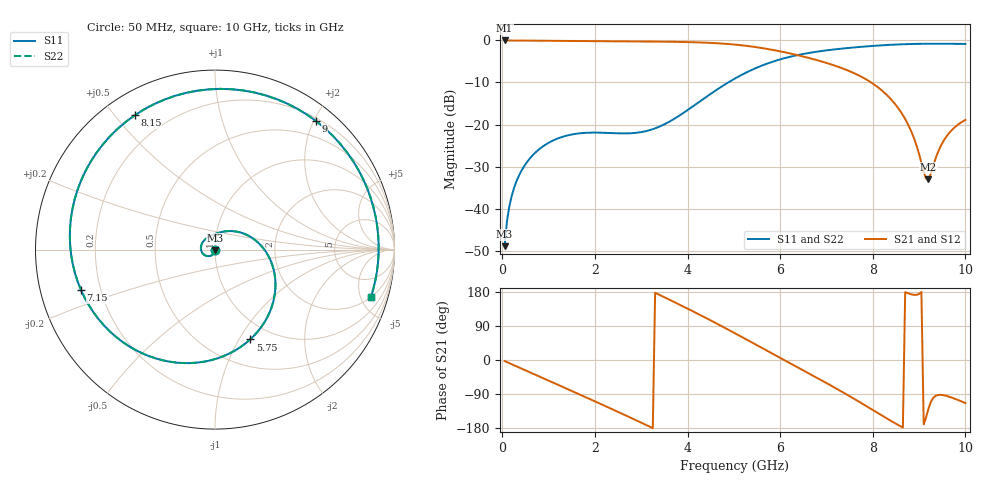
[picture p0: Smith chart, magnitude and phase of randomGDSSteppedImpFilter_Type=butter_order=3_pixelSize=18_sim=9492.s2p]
! freq	dB(S11)	phase(S11)	dB(S12)	phase(S12)
!  dB(S21)	phase(S21)	dB(S22)	phase(S22)
!S-par simulation data
#  GHz  S  DB  R 50
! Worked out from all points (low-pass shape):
!   200 points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, 50 MHz to 10 GHz, reference 50 ohm
!   highest |S21| = -0.01 dB at 50 MHz (marker M1); lowest = -33.1 dB at 9.2 GHz (marker M2)
!   |S21| within 3 dB of the highest: start of sweep to 6.178 GHz
!   lowest |S11| = -48.9 dB at 50 MHz (marker M3), VSWR 1.01, Z = 50 - j0.357 ohm
!   |S11| at or under -10 dB: start of sweep to 4.878 GHz
!   |S22| runs from -48.9 to -0.8 dB; largest |S21 - S12| = 0
!   S11 on the Smith chart (normalised r, x): 50 MHz: 1.00, -0.01; 5.75 GHz: 0.79, -1.12; 7.15 GHz: 0.13, -0.15; 8.15 GHz: 0.09, +0.56; 9 GHz: 0.24, +2.03; 10 GHz: 2.01, -6.07
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0.05  -48.93 -85.6  -0.01 -2.8  -0.01 -2.8  -48.93 -85.6
0.1  -43.07 -91.9  -0.01 -5.5  -0.01 -5.5  -43.07 -91.9
0.2  -37.12 -99.4  -0.02 -11.0  -0.02 -11.0  -37.12 -99.4
0.5  -29.45 -117.3  -0.04 -27.3  -0.04 -27.3  -29.45 -117.3
1.15  -23.53 -153.9  -0.09 -62.6  -0.09 -62.6  -23.53 -153.8
1.75  -22.02 173.0  -0.14 -95.4  -0.14 -95.4  -22.02 173.1
2.65  -22.11 122.3  -0.20 -145.4  -0.20 -145.4  -22.11 122.3
3.4  -20.46 78.9  -0.28 171.5  -0.28 171.5  -20.47 78.9
4.3  -14.25 25.2  -0.49 117.1  -0.49 117.1  -14.25 25.2
5.05  -8.90 -22.3  -1.02 68.8  -1.02 68.8  -8.90 -22.4
5.75  -5.39 -68.6  -2.07 22.4  -2.07 22.4  -5.39 -68.7
6.25  -3.79 -101.9  -3.18 -10.8  -3.18 -10.8  -3.79 -102.0
6.7  -2.83 -132.1  -4.40 -40.7  -4.40 -40.7  -2.83 -132.2
7.15  -2.16 -163.2  -5.88 -71.0  -5.88 -71.0  -2.16 -163.3
7.65  -1.61 160.2  -8.06 -106.2  -8.06 -106.2  -1.61 160.1
8.15  -1.19 120.9  -11.47 -143.0  -11.47 -143.0  -1.19 120.8
8.35  -1.06 104.5  -13.49 -157.7  -13.49 -157.7  -1.06 104.5
8.75  -0.87 71.8  -19.73 176.6  -19.73 176.6  -0.87 71.8
9  -0.81 51.8  -27.00 174.2  -27.00 174.2  -0.81 51.9
9.2  -0.79 36.5  -33.07 -129.7  -33.07 -129.7  -0.79 36.6
9.55  -0.79 11.5  -23.52 -93.4  -23.52 -93.4  -0.79 11.6
10  -0.84 -16.9  -18.92 -113.5  -18.92 -113.5  -0.84 -16.8
